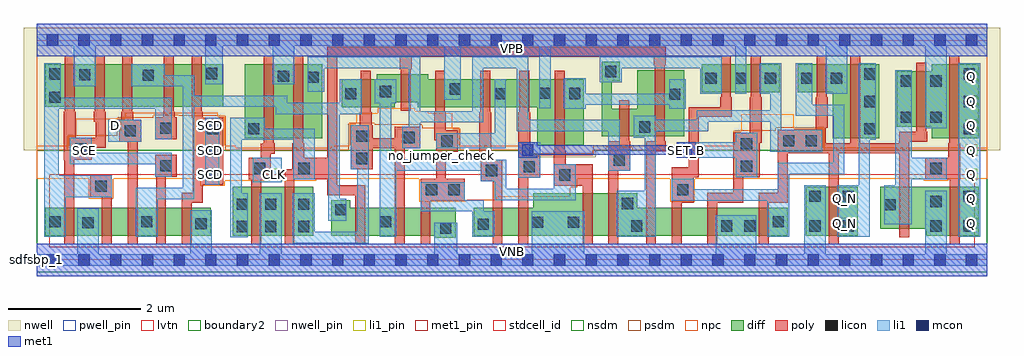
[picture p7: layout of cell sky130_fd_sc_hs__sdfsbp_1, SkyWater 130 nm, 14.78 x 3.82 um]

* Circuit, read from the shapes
.subckt sky130_fd_sc_hs__sdfsbp_1 CLK D Q Q_N SCD SCE SET_B VGND VNB VPB VPWR
XM1 VGND SCE n1 VNB sky130_fd_pr__nfet_01v8_lvt w=0.42 l=0.15
XM2 n2 n1 VGND VNB sky130_fd_pr__nfet_01v8_lvt w=0.42 l=0.15
XM3 n3 D n2 VNB sky130_fd_pr__nfet_01v8_lvt w=0.42 l=0.15
XM4 n4 SCE n3 VNB sky130_fd_pr__nfet_01v8_lvt w=0.42 l=0.15
XM5 VGND SCD n4 VNB sky130_fd_pr__nfet_01v8_lvt w=0.42 l=0.15
XM6 VGND CLK n5 VNB sky130_fd_pr__nfet_01v8_lvt w=0.74 l=0.15
XM7 n6 n5 VGND VNB sky130_fd_pr__nfet_01v8_lvt w=0.74 l=0.15
XM8 n7 n5 n3 VNB sky130_fd_pr__nfet_01v8_lvt w=0.42 l=0.15
XM9 n8 n6 n7 VNB sky130_fd_pr__nfet_01v8_lvt w=0.42 l=0.15
XM10 VGND n9 n8 VNB sky130_fd_pr__nfet_01v8_lvt w=0.42 l=0.15
XM11 n10 n7 n9 VNB sky130_fd_pr__nfet_01v8_lvt w=0.42 l=0.15
XM12 VGND SET_B n10 VNB sky130_fd_pr__nfet_01v8_lvt w=0.42 l=0.15
XM13 n11 n7 VGND VNB sky130_fd_pr__nfet_01v8_lvt w=0.64 l=0.15
XM14 n12 n6 n11 VNB sky130_fd_pr__nfet_01v8_lvt w=0.64 l=0.15
XM15 n13 n5 n12 VNB sky130_fd_pr__nfet_01v8_lvt w=0.42 l=0.15
XM16 n14 n15 n13 VNB sky130_fd_pr__nfet_01v8_lvt w=0.42 l=0.15
XM17 VGND SET_B n14 VNB sky130_fd_pr__nfet_01v8_lvt w=0.42 l=0.15
XM18 n15 n12 VGND VNB sky130_fd_pr__nfet_01v8_lvt w=0.42 l=0.15
XM19 Q_N n12 VGND VNB sky130_fd_pr__nfet_01v8_lvt w=0.74 l=0.15
XM20 VGND n12 n16 VNB sky130_fd_pr__nfet_01v8_lvt w=0.64 l=0.15
XM21 Q n16 VGND VNB sky130_fd_pr__nfet_01v8_lvt w=0.74 l=0.15
XM22 VPWR SCE n1 VPB sky130_fd_pr__pfet_01v8 w=0.64 l=0.15
XM23 n17 SCE VPWR VPB sky130_fd_pr__pfet_01v8 w=0.64 l=0.15
XM24 n3 D n17 VPB sky130_fd_pr__pfet_01v8 w=0.64 l=0.15
XM25 n18 n1 n3 VPB sky130_fd_pr__pfet_01v8 w=0.64 l=0.15
XM26 VPWR SCD n18 VPB sky130_fd_pr__pfet_01v8 w=0.64 l=0.15
XM27 VPWR CLK n5 VPB sky130_fd_pr__pfet_01v8 w=1.12 l=0.15
XM28 n6 n5 VPWR VPB sky130_fd_pr__pfet_01v8 w=1.12 l=0.15
XM29 n7 n6 n3 VPB sky130_fd_pr__pfet_01v8 w=0.42 l=0.15
XM30 n19 n5 n7 VPB sky130_fd_pr__pfet_01v8 w=0.42 l=0.15
XM31 VPWR n9 n19 VPB sky130_fd_pr__pfet_01v8 w=0.42 l=0.15
XM32 n9 n7 VPWR VPB sky130_fd_pr__pfet_01v8 w=0.42 l=0.15
XM33 VPWR SET_B n9 VPB sky130_fd_pr__pfet_01v8 w=0.42 l=0.15
XM34 n20 n7 VPWR VPB sky130_fd_pr__pfet_01v8 w=1 l=0.15
XM35 n12 n6 n21 VPB sky130_fd_pr__pfet_01v8 w=0.42 l=0.15
XM36 n20 n5 n12 VPB sky130_fd_pr__pfet_01v8 w=1 l=0.15
XM37 VPWR n15 n21 VPB sky130_fd_pr__pfet_01v8 w=0.42 l=0.15
XM38 n12 SET_B VPWR VPB sky130_fd_pr__pfet_01v8 w=0.42 l=0.15
XM39 VPWR n12 n15 VPB sky130_fd_pr__pfet_01v8 w=0.42 l=0.15
XM40 Q_N n12 VPWR VPB sky130_fd_pr__pfet_01v8 w=1.12 l=0.15
XM41 VPWR n12 n16 VPB sky130_fd_pr__pfet_01v8 w=0.84 l=0.15
XM42 Q n16 VPWR VPB sky130_fd_pr__pfet_01v8 w=1.12 l=0.15
.ends

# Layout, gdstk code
import gdstk
lib = gdstk.Library(unit=1e-6, precision=1e-09)
def R(c, l, rs):  # rectangles x0, y0, x1, y1
    for r in rs: c.add(gdstk.rectangle(r[:2], r[2:], *l))
def A(c, l, x, y, w, h, nx, ny, dx, dy):  # array of equal rectangles
    R(c, l, [(x+i*dx, y+j*dy, x+i*dx+w, y+j*dy+h) for i in range(nx) for j in range(ny)])
def P(c, l, *ps):  # polygons
    for p in ps: c.add(gdstk.Polygon(p, *l))
nwell_pin = (64, 16)
nwell = (64, 20)
diff = (65, 20)
poly = (66, 20)
licon = (66, 44)
li1_pin = (67, 16)
li1 = (67, 20)
mcon = (67, 44)
met1_pin = (68, 16)
met1 = (68, 20)
stdcell_id = (81, 4)
nsdm = (93, 44)
psdm = (94, 20)
npc = (95, 20)
pwell_pin = (122, 16)
lvtn = (125, 44)
boundary2 = (236, 0)

sky130_fd_sc_hs__sdfsbp_ = lib.new_cell('sky130_fd_sc_hs__sdfsbp_1')
R(sky130_fd_sc_hs__sdfsbp_, nwell_pin, [(0,3.085,14.4,3.33)])
P(sky130_fd_sc_hs__sdfsbp_, nwell, [(14.59,3.52),(-0.19,3.52),(-0.19,1.66),(7.405,1.66),(7.405,1.555),(8.47,1.555),(8.47,1.66),(14.59,1.66)])
R(sky130_fd_sc_hs__sdfsbp_, diff, [(0.135,0.37,2.635,0.79), (2.97,0.37,4.19,1.11), (11.645,0.37,12.435,1.11), (3.15,1.84,4.325,2.96), (0.135,2.32,2.825,2.96), (10.075,2.54,11.255,2.96)])
P(sky130_fd_sc_hs__sdfsbp_, diff, [(6.35,0.79),(4.75,0.79),(4.75,0.905),(4.46,0.905),(4.46,0.37),(6.04,0.37),(6.04,0.335),(6.35,0.335)],
  [(8.29,2.735),(5.93,2.735),(5.93,2.81),(5.15,2.81),(5.15,2.735),(4.625,2.735),(4.625,2.315),(5.425,2.315),(5.425,2.39),(5.77,2.39),(5.77,2.315),(7.585,2.315),(7.585,1.735),(8.29,1.735)],
  [(9.805,2.87),(9.1,2.87),(9.1,2.29),(8.71,2.29),(8.71,2.71),(8.83,2.71),(8.83,3),(8.56,3),(8.56,1.87),(9.805,1.87)],
  [(11.375,0.79),(9.095,0.79),(9.095,1.01),(7.52,1.01),(7.52,0.79),(6.62,0.79),(6.62,0.37),(11.375,0.37)],
  [(12.76,2.96),(11.525,2.96),(11.525,2.54),(12.055,2.54),(12.055,1.84),(12.76,1.84)],
  [(14.265,2.96),(13.56,2.96),(13.56,2.855),(13.03,2.855),(13.03,2.015),(13.56,2.015),(13.56,1.84),(14.265,1.84)],
  [(14.265,1.11),(12.78,1.11),(12.78,0.47),(13.475,0.47),(13.475,0.37),(14.265,0.37)])
P(sky130_fd_sc_hs__sdfsbp_, poly, [(1.045,2.245),(1.03,2.245),(1.03,3.09),(0.88,3.09),(0.88,2.245),(0.865,2.245),(0.865,2.09),(0.895,2.09),(0.895,1.85),(0.595,1.85),(0.595,2.245),(0.58,2.245),(0.58,3.09),(0.43,3.09),(0.43,2.245),(0.415,2.245),(0.415,1.52),(0.42,1.52),(0.42,0.24),(0.57,0.24),(0.57,1.52),(0.835,1.52),(0.835,1.7),(1.045,1.7)],
  [(1.14,1.28),(0.81,1.28),(0.81,0.95),(0.99,0.95),(0.99,0.24),(1.14,0.24)],
  [(1.585,2.12),(1.465,2.12),(1.465,2.245),(1.45,2.245),(1.45,3.09),(1.3,3.09),(1.3,2.245),(1.285,2.245),(1.285,2.12),(1.255,2.12),(1.255,1.79),(1.38,1.79),(1.38,0.24),(1.53,0.24),(1.53,1.79),(1.585,1.79)],
  [(2.125,2.16),(2.095,2.16),(2.095,2.245),(2.08,2.245),(2.08,3.09),(1.93,3.09),(1.93,2.245),(1.915,2.245),(1.915,2.16),(1.795,2.16),(1.795,1.83),(2.125,1.83)],
  [(2.125,1.59),(1.795,1.59),(1.795,1.26),(1.81,1.26),(1.81,0.24),(1.96,0.24),(1.96,1.26),(2.125,1.26)],
  [(2.83,2.15),(2.515,2.15),(2.515,2.245),(2.5,2.245),(2.5,3.09),(2.35,3.09),(2.35,2.15),(2.365,2.15),(2.365,1.015),(2.2,1.015),(2.2,0.24),(2.35,0.24),(2.35,0.865),(2.515,0.865),(2.515,1.14),(2.83,1.14)],
  [(3.605,1.765),(3.59,1.765),(3.59,3.09),(3.44,3.09),(3.44,1.765),(3.425,1.765),(3.425,1.76),(3.395,1.76),(3.395,1.55),(3.215,1.55),(3.215,1.22),(3.255,1.22),(3.255,0.24),(3.405,0.24),(3.405,1.22),(3.545,1.22),(3.545,1.61),(3.605,1.61)],
  [(5.81,2.02),(5.425,2.02),(5.425,1.84),(5.09,1.84),(5.09,2.04),(5.075,2.04),(5.075,2.24),(5.06,2.24),(5.06,2.865),(4.91,2.865),(4.91,2.24),(4.895,2.24),(4.895,2.04),(4.76,2.04),(4.76,1.37),(5.09,1.37),(5.09,1.69),(5.425,1.69),(5.425,0.24),(5.575,0.24),(5.575,1.69),(5.81,1.69)],
  [(6.485,1.23),(6.2,1.23),(6.2,1.635),(6.38,1.635),(6.38,1.965),(6.2,1.965),(6.2,2.24),(6.185,2.24),(6.185,2.865),(6.035,2.865),(6.035,2.24),(6.02,2.24),(6.02,1.815),(6.05,1.815),(6.05,1.23),(5.815,1.23),(5.815,0.24),(5.965,0.24),(5.965,0.9),(6.485,0.9)],
  [(7.055,1.52),(6.885,1.52),(6.885,2.24),(6.87,2.24),(6.87,2.865),(6.72,2.865),(6.72,2.24),(6.705,2.24),(6.705,1.52),(6.725,1.52),(6.725,1.19),(6.905,1.19),(6.905,0.24),(7.055,0.24)],
  [(7.625,1.575),(7.475,1.575),(7.475,2.24),(7.46,2.24),(7.46,2.865),(7.31,2.865),(7.31,2.24),(7.295,2.24),(7.295,0.24),(7.445,0.24),(7.445,1.245),(7.625,1.245)],
  [(8.42,1.45),(8.015,1.45),(8.015,1.66),(8,1.66),(8,2.865),(7.85,2.865),(7.85,1.66),(7.835,1.66),(7.835,1.12),(8.27,1.12),(8.27,0.24),(8.42,0.24)],
  [(8.99,1.795),(8.975,1.795),(8.975,2.42),(8.825,2.42),(8.825,1.795),(8.66,1.795),(8.66,0.24),(8.81,0.24),(8.81,1.35),(8.99,1.35)],
  [(9.53,1.795),(9.515,1.795),(9.515,2.945),(9.53,2.945),(9.53,3.225),(4.4,3.225),(4.4,1.55),(4.055,1.55),(4.055,1.765),(4.04,1.765),(4.04,3.09),(3.89,3.09),(3.89,1.765),(3.875,1.765),(3.875,1.37),(3.755,1.37),(3.755,0.24),(3.905,0.24),(3.905,1.22),(4.4,1.22),(4.4,0.98),(4.825,0.98),(4.825,0.24),(4.975,0.24),(4.975,1.13),(4.55,1.13),(4.55,3.075),(5.5,3.075),(5.5,2.885),(5.515,2.885),(5.515,2.26),(5.665,2.26),(5.665,2.885),(5.68,2.885),(5.68,3.075),(9.35,3.075),(9.35,2.945),(9.365,2.945),(9.365,1.795),(9.23,1.795),(9.23,0.24),(9.38,0.24),(9.38,1.645),(9.53,1.645)],
  [(10.53,2.465),(10.515,2.465),(10.515,3.09),(10.365,3.09),(10.365,2.465),(10.35,2.465),(10.35,2.315),(9.88,2.315),(9.88,1.405),(9.62,1.405),(9.62,0.24),(9.77,0.24),(9.77,0.865),(9.95,0.865),(9.95,1.255),(10.03,1.255),(10.03,2.165),(10.53,2.165)],
  [(10.98,2.465),(10.965,2.465),(10.965,3.09),(10.815,3.09),(10.815,2.465),(10.8,2.465),(10.8,1.925),(10.55,1.925),(10.55,1.015),(10.16,1.015),(10.16,0.24),(10.31,0.24),(10.31,0.865),(10.7,0.865),(10.7,1.255),(10.95,1.255),(10.95,1.775),(10.98,1.775)],
  [(13.485,1.94),(13.47,1.94),(13.47,2.985),(13.32,2.985),(13.32,1.94),(13.065,1.94),(13.065,1.765),(12.47,1.765),(12.47,3.09),(12.32,3.09),(12.32,1.765),(11.95,1.765),(11.95,2.005),(11.98,2.005),(11.98,2.465),(11.965,2.465),(11.965,3.09),(11.815,3.09),(11.815,2.465),(11.8,2.465),(11.8,1.97),(11.225,1.97),(11.225,1.015),(10.94,1.015),(10.94,0.24),(11.09,0.24),(11.09,0.865),(11.375,0.865),(11.375,1.615),(12,1.615),(12,0.24),(12.15,0.24),(12.15,1.615),(13.065,1.615),(13.065,0.34),(13.215,0.34),(13.215,1.79),(13.485,1.79)],
  [(13.99,1.765),(13.975,1.765),(13.975,3.09),(13.825,3.09),(13.825,1.765),(13.81,1.765),(13.81,1.55),(13.455,1.55),(13.455,1.22),(13.83,1.22),(13.83,0.24),(13.98,0.24),(13.98,1.22),(13.99,1.22)])
A(sky130_fd_sc_hs__sdfsbp_, licon, 2.58, 1.22, 0.17, 0.17, 1, 3, 0, 0.34)
A(sky130_fd_sc_hs__sdfsbp_, licon, 12.535, 1.9, 0.17, 0.17, 1, 3, 0, 0.415)
A(sky130_fd_sc_hs__sdfsbp_, licon, 14.04, 1.9, 0.17, 0.17, 1, 3, 0, 0.415)
A(sky130_fd_sc_hs__sdfsbp_, licon, 10.13, 2.665, 0.17, 0.17, 3, 1, 0.45, 0)
R(sky130_fd_sc_hs__sdfsbp_, licon, [(6.11,0.395,6.28,0.565), (3.03,0.42,3.2,0.59), (3.46,0.42,3.63,0.59), (3.96,0.42,4.13,0.59), (9.005,0.43,9.175,0.6), (10.365,0.43,10.535,0.6), (10.715,0.43,10.885,0.6), (11.705,0.43,11.875,0.6), (12.205,0.43,12.375,0.6), (13.535,0.43,13.705,0.6), (14.035,0.43,14.205,0.6), (6.68,0.455,6.85,0.625), (2.405,0.465,2.575,0.635), (0.695,0.48,0.865,0.65), (7.5,0.485,7.67,0.655), (8.045,0.485,8.215,0.655), (0.195,0.495,0.365,0.665), (1.585,0.495,1.755,0.665), (5.2,0.495,5.37,0.665), (11.145,0.495,11.315,0.665), (4.52,0.675,4.69,0.845), (12.84,0.75,13.01,0.92), (3.03,0.76,3.2,0.93), (3.46,0.76,3.63,0.93), (3.96,0.76,4.13,0.93), (8.865,0.77,9.035,0.94), (13.535,0.8,13.705,0.97), (11.705,0.88,11.875,1.05), (12.205,0.88,12.375,1.05), (14.035,0.88,14.205,1.05), (5.895,0.98,6.065,1.15), (6.235,0.98,6.405,1.15), (9.7,0.98,9.87,1.15), (0.89,1.03,1.06,1.2), (7.915,1.2,8.085,1.37), (6.805,1.27,6.975,1.44), (3.295,1.3,3.465,1.47), (3.965,1.3,4.135,1.47), (13.535,1.3,13.705,1.47), (7.375,1.325,7.545,1.495), (10.665,1.335,10.835,1.505), (1.875,1.34,2.045,1.51), (8.74,1.43,8.91,1.6), (4.84,1.45,5.01,1.62), (0.585,1.6,0.755,1.77), (10.665,1.675,10.835,1.845), (6.13,1.715,6.3,1.885), (11.305,1.72,11.475,1.89), (11.645,1.72,11.815,1.89), (5.56,1.77,5.73,1.94), (4.84,1.79,5.01,1.96), (1.335,1.87,1.505,2.04), (3.205,1.9,3.375,2.07), (1.875,1.91,2.045,2.08), (9.125,1.93,9.295,2.1), (13.085,2.075,13.255,2.245), (13.535,2.075,13.705,2.245), (0.195,2.38,0.365,2.55), (9.58,2.425,9.75,2.595), (4.675,2.43,4.845,2.6), (6.935,2.43,7.105,2.6), (8.065,2.435,8.235,2.605), (7.615,2.44,7.785,2.61), (5.2,2.465,5.37,2.635), (6.255,2.505,6.425,2.675), (13.085,2.625,13.255,2.795), (13.535,2.625,13.705,2.795), (11.58,2.665,11.75,2.835), (12.03,2.665,12.2,2.835), (4.105,2.68,4.275,2.85), (3.655,2.695,3.825,2.865), (1.605,2.71,1.775,2.88), (0.645,2.72,0.815,2.89), (0.195,2.73,0.365,2.9), (2.57,2.74,2.74,2.91), (8.61,2.77,8.78,2.94)])
A(sky130_fd_sc_hs__sdfsbp_, li1_pin, 14.075, 0.47, 0.17, 0.17, 1, 7, 0, 0.37)
A(sky130_fd_sc_hs__sdfsbp_, li1_pin, 2.555, 1.21, 0.17, 0.17, 1, 3, 0, 0.37)
R(sky130_fd_sc_hs__sdfsbp_, li1_pin, [(12.155,0.47,12.325,0.64), (12.155,0.84,12.325,1.01), (3.515,1.21,3.685,1.38), (0.635,1.58,0.805,1.75), (1.115,1.95,1.285,2.12)])
R(sky130_fd_sc_hs__sdfsbp_, li1, [(13.955,0.35,14.29,2.98), (2.555,1.14,2.765,2.15), (3.275,1.18,3.715,1.55), (7.295,1.245,7.625,1.78), (1.085,1.79,1.585,2.12)])
P(sky130_fd_sc_hs__sdfsbp_, li1, [(0,-0.085),(0,0.085),(0.615,0.085),(0.615,0.78),(0.945,0.78),(0.945,0.085),(2.325,0.085),(2.325,0.75),(2.655,0.75),(2.655,0.085),(3.38,0.085),(3.38,1.01),(3.71,1.01),(3.71,0.085),(6.02,0.085),(6.02,0.565),(6.37,0.565),(6.37,0.085),(7.5,0.085),(7.5,0.735),(8.295,0.735),(8.295,0.085),(10.285,0.085),(10.285,0.68),(10.895,0.68),(10.895,0.085),(11.625,0.085),(11.625,1.13),(11.955,1.13),(11.955,0.085),(13.455,0.085),(13.455,1.05),(13.785,1.05),(13.785,0.085),(14.4,0.085),(14.4,-0.085)],
  [(0,3.245),(0,3.415),(14.4,3.415),(14.4,3.245),(13.785,3.245),(13.785,1.995),(13.455,1.995),(13.455,3.245),(12.28,3.245),(12.28,2.52),(11.95,2.52),(11.95,3.245),(10.75,3.245),(10.75,2.52),(10.58,2.52),(10.58,3.245),(7.785,3.245),(7.785,2.295),(7.615,2.295),(7.615,3.245),(6.425,3.245),(6.425,2.425),(6.175,2.425),(6.175,3.245),(3.905,3.245),(3.905,2.66),(3.575,2.66),(3.575,3.245),(2.82,3.245),(2.82,2.66),(2.555,2.66),(2.555,3.245),(0.895,3.245),(0.895,2.63),(0.565,2.63),(0.565,3.245)],
  [(12.125,0.35),(12.125,1.13),(12.45,1.13),(12.45,2.98),(12.705,2.98),(12.705,1.82),(12.62,1.82),(12.62,0.35)],
  [(9.725,1.55),(9.725,1.78),(10.585,1.78),(10.585,1.925),(10.915,1.925),(10.915,1.255),(10.585,1.255),(10.585,1.55)],
  [(0.505,1.85),(0.835,1.85),(0.835,1.62),(2.045,1.62),(2.045,1.26),(1.795,1.26),(1.795,1.45),(0.505,1.45)],
  [(0.115,0.35),(0.115,2.98),(0.365,2.98),(0.365,2.46),(2.045,2.46),(2.045,1.83),(1.795,1.83),(1.795,2.29),(0.335,2.29),(0.335,1.28),(1.14,1.28),(1.14,0.95),(0.445,0.95),(0.445,0.35)],
  [(5.64,2.905),(4.355,2.905),(4.355,2.55),(4.105,2.55),(4.105,3.075),(5.81,3.075),(5.81,2.255),(6.595,2.255),(6.595,3.075),(7.445,3.075),(7.445,2.12),(8.83,2.12),(8.83,1.68),(8.99,1.68),(8.99,1.35),(8.66,1.35),(8.66,1.95),(7.275,1.95),(7.275,2.905),(6.765,2.905),(6.765,2.085),(5.81,2.085),(5.81,1.69),(5.54,1.69),(5.54,2.02),(5.64,2.02)],
  [(11.75,2.35),(12.235,2.35),(12.235,1.3),(11.395,1.3),(11.395,0.35),(11.065,0.35),(11.065,0.9),(9.62,0.9),(9.62,1.23),(9.95,1.23),(9.95,1.07),(11.225,1.07),(11.225,1.47),(12.065,1.47),(12.065,2.18),(11.5,2.18),(11.5,2.98),(11.75,2.98)],
  [(11.11,2.095),(10.17,2.095),(10.17,1.95),(9.38,1.95),(9.38,0.35),(8.785,0.35),(8.785,1.05),(9.21,1.05),(9.21,1.85),(9.045,1.85),(9.045,2.18),(9.38,2.18),(9.38,2.12),(10,2.12),(10,2.265),(11.11,2.265),(11.11,2.52),(10.95,2.52),(10.95,2.98),(11.28,2.98),(11.28,1.97),(11.895,1.97),(11.895,1.64),(11.11,1.64)],
  [(10.05,2.905),(8.86,2.905),(8.86,2.69),(8.53,2.69),(8.53,3.075),(10.38,3.075),(10.38,2.52),(10.05,2.52)],
  [(8.315,2.52),(9.58,2.52),(9.58,2.735),(9.83,2.735),(9.83,2.29),(9.58,2.29),(9.58,2.35),(8.315,2.35),(8.315,2.29),(7.985,2.29),(7.985,2.755),(8.315,2.755)],
  [(4.42,2.21),(3.625,2.21),(3.625,2.32),(2.385,2.32),(2.385,0.92),(1.835,0.92),(1.835,0.35),(1.505,0.35),(1.505,1.09),(2.215,1.09),(2.215,2.63),(1.435,2.63),(1.435,2.96),(1.945,2.96),(1.945,2.8),(2.385,2.8),(2.385,2.49),(3.795,2.49),(3.795,2.38),(4.59,2.38),(4.59,2.735),(4.925,2.735),(4.925,2.21),(4.59,2.21),(4.59,0.925),(4.69,0.925),(4.69,0.595),(4.42,0.595)],
  [(13.005,1.13),(13.005,2.875),(13.255,2.875),(13.255,1.55),(13.785,1.55),(13.785,1.22),(13.255,1.22),(13.255,0.54),(12.84,0.54),(12.84,1.13)],
  [(6.485,0.905),(6.77,0.905),(6.77,0.735),(6.93,0.735),(6.93,0.35),(6.6,0.35),(6.6,0.735),(5.815,0.735),(5.815,1.18),(6.485,1.18)],
  [(4.21,0.425),(4.86,0.425),(4.86,1.37),(4.76,1.37),(4.76,2.04),(5.03,2.04),(5.03,0.255),(3.88,0.255),(3.88,1.01),(4.21,1.01)],
  [(5.2,2.37),(5.12,2.37),(5.12,2.735),(5.45,2.735),(5.45,2.37),(5.37,2.37),(5.37,1.52),(7.11,1.52),(7.11,1.075),(7.835,1.075),(7.835,1.45),(8.165,1.45),(8.165,0.905),(6.94,0.905),(6.94,1.19),(6.725,1.19),(6.725,1.35),(5.45,1.35),(5.45,0.35),(5.2,0.35)],
  [(3.455,1.99),(4.215,1.99),(4.215,1.22),(3.885,1.22),(3.885,1.82),(3.105,1.82),(3.105,1.01),(3.2,1.01),(3.2,0.34),(2.935,0.34),(2.935,2.15),(3.455,2.15)],
  [(6.935,1.915),(6.935,2.735),(7.105,2.735),(7.105,1.69),(6.05,1.69),(6.05,1.915)])
A(sky130_fd_sc_hs__sdfsbp_, mcon, 0.155, -0.085, 0.17, 0.17, 30, 2, 0.48, 3.33)
R(sky130_fd_sc_hs__sdfsbp_, mcon, [(7.355,1.58,7.525,1.75), (9.755,1.58,9.925,1.75)])
R(sky130_fd_sc_hs__sdfsbp_, met1_pin, [(0,0,14.4,0.245), (9.755,1.58,9.925,1.75), (0,3.085,14.4,3.33)])
R(sky130_fd_sc_hs__sdfsbp_, met1, [(0,-0.245,14.4,0.245), (0,3.085,14.4,3.575)])
P(sky130_fd_sc_hs__sdfsbp_, met1, [(7.585,1.735),(9.695,1.735),(9.695,1.78),(9.985,1.78),(9.985,1.55),(9.695,1.55),(9.695,1.595),(7.585,1.595),(7.585,1.55),(7.295,1.55),(7.295,1.78),(7.585,1.78)])
R(sky130_fd_sc_hs__sdfsbp_, stdcell_id, [(0,0,14.4,3.33)])
P(sky130_fd_sc_hs__sdfsbp_, nsdm, [(14.4,1.66),(8.42,1.66),(8.42,1.605),(7.41,1.605),(7.41,1.66),(0,1.66),(0,-0.19),(14.4,-0.19)])
P(sky130_fd_sc_hs__sdfsbp_, psdm, [(14.4,3.52),(0,3.52),(0,1.66),(0.475,1.66),(0.475,1.88),(1.225,1.88),(1.225,2.15),(1.765,2.15),(1.765,2.19),(2.155,2.19),(2.155,2.18),(2.86,2.18),(2.86,1.66),(4.73,1.66),(4.73,2.07),(5.12,2.07),(5.12,2.05),(5.84,2.05),(5.84,1.995),(6.41,1.995),(6.41,1.66),(7.455,1.66),(7.455,1.605),(8.42,1.605),(8.42,1.66),(8.63,1.66),(8.63,1.71),(9.02,1.71),(9.02,1.66),(10.555,1.66),(10.555,1.955),(11.195,1.955),(11.195,2),(11.925,2),(11.925,1.66),(14.4,1.66)])
P(sky130_fd_sc_hs__sdfsbp_, npc, [(14.4,1.7),(11.915,1.7),(11.915,1.99),(11.47,1.99),(11.47,2.21),(10.67,2.21),(10.67,1.945),(10.565,1.945),(10.565,1.73),(8.43,1.73),(8.43,1.595),(7.445,1.595),(7.445,1.73),(6.4,1.73),(6.4,1.985),(6.295,1.985),(6.295,2.225),(5.93,2.225),(5.93,2.25),(5.725,2.25),(5.725,2.3),(5.165,2.3),(5.165,2.225),(4.845,2.225),(4.845,2.06),(4.74,2.06),(4.74,1.73),(4.465,1.73),(4.465,1.7),(3.01,1.7),(3.01,1.73),(2.85,1.73),(2.85,2.17),(2.745,2.17),(2.745,2.23),(1.34,2.23),(1.34,2.14),(1.235,2.14),(1.235,2.135),(0.59,2.135),(0.59,1.87),(0.485,1.87),(0.485,1.73),(0,1.73),(0,1.23),(0.79,1.23),(0.79,0.93),(1.16,0.93),(1.16,1.23),(2.48,1.23),(2.48,1.12),(2.85,1.12),(2.85,1.2),(4.235,1.2),(4.235,1.23),(5.795,1.23),(5.795,0.88),(6.505,0.88),(6.505,0.905),(6.97,0.905),(6.97,0.96),(8.08,0.96),(8.08,1.1),(8.185,1.1),(8.185,1.23),(9.6,1.23),(9.6,0.88),(9.97,0.88),(9.97,1.23),(13.435,1.23),(13.435,1.2),(13.805,1.2),(13.805,1.23),(14.4,1.23)])
R(sky130_fd_sc_hs__sdfsbp_, pwell_pin, [(0,0,14.4,0.245)])
R(sky130_fd_sc_hs__sdfsbp_, lvtn, [(0.19,0.19,14.21,1.3)])
R(sky130_fd_sc_hs__sdfsbp_, boundary2, [(0,0,14.4,3.33)])
sky130_fd_sc_hs__sdfsbp_.add(gdstk.Label('sdfsbp_1', (0,0), layer=83, texttype=44))
sky130_fd_sc_hs__sdfsbp_.add(gdstk.Label('no_jumper_check', (6.13,1.575), layer=83, texttype=44))
sky130_fd_sc_hs__sdfsbp_.add(gdstk.Label('no_jumper_check', (5.14,1.77), layer=83, texttype=44))
sky130_fd_sc_hs__sdfsbp_.add(gdstk.Label('VNB', (7.2,0.123), layer=64, texttype=59))
sky130_fd_sc_hs__sdfsbp_.add(gdstk.Label('VPB', (7.2,3.208), layer=64, texttype=5))
sky130_fd_sc_hs__sdfsbp_.add(gdstk.Label('SET_B', (9.84,1.665), layer=68, texttype=5))
sky130_fd_sc_hs__sdfsbp_.add(gdstk.Label('VPWR', (7.2,3.208), layer=68, texttype=5))
sky130_fd_sc_hs__sdfsbp_.add(gdstk.Label('VGND', (7.2,0.123), layer=68, texttype=5))
sky130_fd_sc_hs__sdfsbp_.add(gdstk.Label('Q', (14.16,0.555), layer=67, texttype=5))
sky130_fd_sc_hs__sdfsbp_.add(gdstk.Label('Q', (14.16,0.925), layer=67, texttype=5))
sky130_fd_sc_hs__sdfsbp_.add(gdstk.Label('Q', (14.16,1.295), layer=67, texttype=5))
sky130_fd_sc_hs__sdfsbp_.add(gdstk.Label('Q', (14.16,1.665), layer=67, texttype=5))
sky130_fd_sc_hs__sdfsbp_.add(gdstk.Label('Q', (14.16,2.035), layer=67, texttype=5))
sky130_fd_sc_hs__sdfsbp_.add(gdstk.Label('Q', (14.16,2.405), layer=67, texttype=5))
sky130_fd_sc_hs__sdfsbp_.add(gdstk.Label('Q', (14.16,2.775), layer=67, texttype=5))
sky130_fd_sc_hs__sdfsbp_.add(gdstk.Label('Q_N', (12.24,0.555), layer=67, texttype=5))
sky130_fd_sc_hs__sdfsbp_.add(gdstk.Label('Q_N', (12.24,0.925), layer=67, texttype=5))
sky130_fd_sc_hs__sdfsbp_.add(gdstk.Label('SCD', (2.64,1.295), layer=67, texttype=5))
sky130_fd_sc_hs__sdfsbp_.add(gdstk.Label('SCD', (2.64,1.665), layer=67, texttype=5))
sky130_fd_sc_hs__sdfsbp_.add(gdstk.Label('SCD', (2.64,2.035), layer=67, texttype=5))
sky130_fd_sc_hs__sdfsbp_.add(gdstk.Label('CLK', (3.6,1.295), layer=67, texttype=5))
sky130_fd_sc_hs__sdfsbp_.add(gdstk.Label('SCE', (0.72,1.665), layer=67, texttype=5))
sky130_fd_sc_hs__sdfsbp_.add(gdstk.Label('D', (1.2,2.035), layer=67, texttype=5))

lib.write_gds('sky130_fd_sc_hs__sdfsbp_1.gds')
